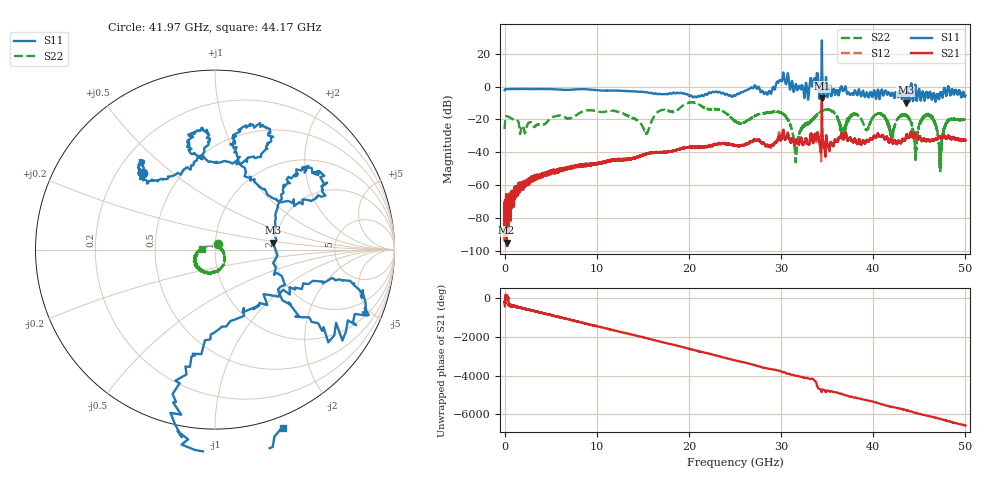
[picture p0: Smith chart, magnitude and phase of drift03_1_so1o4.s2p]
!Created with skrf (http://scikit-rf.org).
# Hz S RI R 50.0
!freq ReS11 ImS11 ReS21 ImS21 ReS12 ImS12 ReS22 ImS22
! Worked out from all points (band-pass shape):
!   10000 points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, 5.3 MHz to 50 GHz, reference 50 ohm
!   highest |S21| = -7.03 dB at 34.43 GHz (marker M1); lowest = -95.2 dB at 220.3 MHz (marker M2)
!   |S21| within 3 dB of the highest: 34.42747 GHz to 34.43493 GHz (7.454 MHz wide, 0.0216 % of centre)
!   lowest |S11| = -9.7 dB at 43.53 GHz (marker M3), VSWR 1.97, Z = 97.4 + j8.42 ohm
!   |S11| at or under -10 dB: nowhere
!   |S22| runs from -52.2 to -9.4 dB; largest |S21 - S12| = 0.12
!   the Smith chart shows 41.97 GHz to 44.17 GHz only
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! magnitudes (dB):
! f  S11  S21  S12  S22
! 5.3 MHz  -2.1  -70.7  -77.2  -25.8
! 220.3 MHz  -1.4  -95.2  -70.7  -18.0
! 2.185 GHz  -1.3  -58.5  -58.8  -28.2
! 8.34 GHz  -1.5  -47.7  -48.5  -15.4
! 15.38 GHz  -3.5  -41.1  -41.0  -28.5
! 16.67 GHz  -4.4  -40.1  -40.0  -15.3
! 20.42 GHz  -6.5  -37.0  -36.7  -9.5
! 25.01 GHz  -5.6  -35.7  -36.0  -21.0
! 29.96 GHz  3.9  -32.7  -32.3  -15.9
! 31.61 GHz  1.5  -33.6  -33.6  -44.9
! 33.34 GHz  2.3  -30.0  -30.3  -20.5
! 34.43 GHz  28.2  -7.0  -8.9  -14.7
! 36.69 GHz  -2.2  -30.1  -30.1  -27.7
! 37.94 GHz  -3.3  -32.5  -32.2  -16.8
! 41.67 GHz  -3.6  -33.7  -33.6  -22.7
! 43.53 GHz  -9.7  -31.3  -31.3  -17.1
! 44.6 GHz  -0.5  -29.0  -29.1  -41.1
! 45.27 GHz  -4.4  -32.7  -33.0  -20.0
! 46.25 GHz  -4.3  -33.1  -32.8  -17.4
! 47.29 GHz  -3.8  -31.1  -31.0  -50.9
! 48.1 GHz  -0.4  -30.4  -30.3  -20.5
! 50 GHz  -5.5  -32.8  -32.9  -19.6
